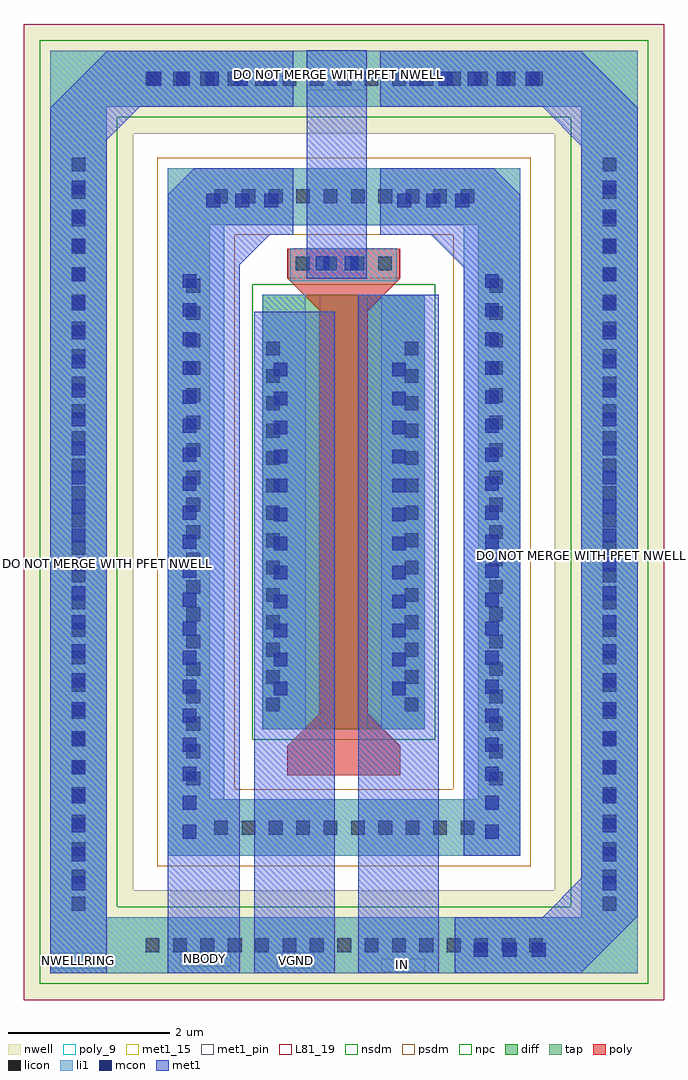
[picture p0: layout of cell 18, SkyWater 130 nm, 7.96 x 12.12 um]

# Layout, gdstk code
import gdstk
lib = gdstk.Library(unit=1e-6, precision=1e-09)
def R(c, l, rs):  # rectangles x0, y0, x1, y1
    for r in rs: c.add(gdstk.rectangle(r[:2], r[2:], *l))
def A(c, l, x, y, w, h, nx, ny, dx, dy):  # array of equal rectangles
    R(c, l, [(x+i*dx, y+j*dy, x+i*dx+w, y+j*dy+h) for i in range(nx) for j in range(ny)])
def P(c, l, *ps):  # polygons
    for p in ps: c.add(gdstk.Polygon(p, *l))
nwell = (64, 20)
diff = (65, 20)
tap = (65, 44)
poly_9 = (66, 9)
poly = (66, 20)
licon = (66, 44)
li1 = (67, 20)
mcon = (67, 44)
met1_15 = (68, 15)
met1_pin = (68, 16)
met1 = (68, 20)
L81_19 = (81, 19)
nsdm = (93, 44)
psdm = (94, 20)
npc = (95, 20)

c_18 = lib.new_cell('18')
R(c_18, nwell, [(1.215,0.295,6.745,1.065), (0.295,0.81,1.065,10.76), (6.89,0.81,7.66,10.76), (1.215,11.055,6.745,11.825)])
P(c_18, nwell, [(0,0),(0,12.12),(6.595,12.12),(6.595,10.76),(1.36,10.76),(1.36,1.36),(6.595,1.36),(6.595,12.12),(7.955,12.12),(7.955,0)])
R(c_18, diff, [(2.97,3.36,4.98,8.76), (2.97,3.525,3.22,8.235), (4.69,3.525,4.94,8.235)])
R(c_18, tap, [(1.395,0.475,6.565,0.885), (0.475,0.99,0.885,10.58), (7.07,0.99,7.48,10.58), (2.245,1.935,5.715,2.345), (1.9,2.545,2.31,9.075), (5.66,2.545,6.07,9.075), (2.245,9.775,5.715,10.185), (1.395,11.235,6.565,11.645)])
P(c_18, tap, [(1.79,1.79),(1.79,10.33),(5.645,10.33),(5.645,9.63),(2.31,9.63),(2.31,2.49),(5.645,2.49),(5.645,10.33),(6.165,10.33),(6.165,1.79)],
  [(0.33,0.33),(0.33,11.79),(6.925,11.79),(6.925,11.09),(1.03,11.09),(1.03,1.03),(6.925,1.03),(6.925,11.79),(7.625,11.79),(7.625,0.33)])
R(c_18, poly_9, [(3.675,3.36,4.275,8.76)])
R(c_18, poly, [(3.3,8.98,4.65,9.31)])
P(c_18, poly, [(3.275,2.79),(3.275,3.16),(3.675,3.56),(3.675,8.56),(3.275,8.96),(3.275,9.33),(4.675,9.33),(4.675,8.96),(4.275,8.56),(4.275,3.56),(4.675,3.16),(4.675,2.79)])
A(c_18, licon, 1.515, 0.595, 0.17, 0.17, 15, 2, 0.34, 10.76)
A(c_18, licon, 0.595, 1.11, 0.17, 0.17, 1, 28, 0, 0.34)
A(c_18, licon, 7.19, 1.11, 0.17, 0.17, 1, 28, 0, 0.34)
A(c_18, licon, 2.365, 2.055, 0.17, 0.17, 10, 2, 0.34, 7.84)
A(c_18, licon, 2.02, 2.665, 0.17, 0.17, 1, 19, 0, 0.34)
A(c_18, licon, 5.78, 2.665, 0.17, 0.17, 1, 19, 0, 0.34)
A(c_18, licon, 3.01, 3.585, 0.17, 0.17, 1, 14, 0, 0.34)
A(c_18, licon, 4.73, 3.585, 0.17, 0.17, 1, 14, 0, 0.34)
A(c_18, licon, 3.38, 9.06, 0.17, 0.17, 4, 1, 0.34, 0)
R(c_18, li1, [(1.515,0.515,6.445,0.845), (5.59,0.54,6.48,0.71), (0.595,1.03,0.765,10.54), (7.19,1.03,7.36,10.54), (0.595,1.365,0.765,10.175), (7.19,1.365,7.36,10.175), (2.365,1.975,5.595,2.305), (1.975,2.005,2.145,9.015), (5.73,2.005,5.9,9.015), (2.02,2.585,2.19,9.035), (5.78,2.585,5.95,9.035), (2.965,3.36,3.505,8.755), (4.44,3.36,4.98,8.755), (3.01,3.505,3.18,8.255), (4.73,3.505,4.9,8.255), (3.105,3.785,3.275,7.915), (4.575,3.785,4.745,7.915), (3.31,8.925,4.635,9.335), (3.38,8.98,4.57,9.31), (3.625,9.065,4.155,9.235), (2.365,9.815,5.595,10.145), (2.27,9.845,3.16,10.015), (4.64,9.845,5.53,10.015), (1.515,11.275,6.445,11.605), (1.535,11.355,3.145,11.525), (4.795,11.355,6.405,11.525)])
P(c_18, li1, [(0.33,0.33),(0.33,11.79),(6.925,11.79),(6.925,11.09),(1.03,11.09),(1.03,1.03),(6.925,1.03),(6.925,11.79),(7.625,11.79),(7.625,0.33)],
  [(1.79,1.79),(1.79,10.33),(5.465,10.33),(5.465,9.62),(2.49,9.62),(2.49,2.49),(5.465,2.49),(5.465,10.33),(6.165,10.33),(6.165,1.79)])
A(c_18, mcon, 5.59, 0.54, 0.17, 0.17, 3, 1, 0.36, 0)
A(c_18, mcon, 0.595, 1.365, 0.17, 0.17, 1, 25, 0, 0.36)
A(c_18, mcon, 7.19, 1.365, 0.17, 0.17, 1, 25, 0, 0.36)
A(c_18, mcon, 1.975, 2.005, 0.17, 0.17, 1, 20, 0, 0.36)
A(c_18, mcon, 5.73, 2.005, 0.17, 0.17, 1, 20, 0, 0.36)
A(c_18, mcon, 3.105, 3.785, 0.17, 0.17, 1, 12, 0, 0.36)
A(c_18, mcon, 4.575, 3.785, 0.17, 0.17, 1, 12, 0, 0.36)
A(c_18, mcon, 2.27, 9.845, 0.17, 0.17, 3, 1, 0.36, 0)
A(c_18, mcon, 4.64, 9.845, 0.17, 0.17, 3, 1, 0.36, 0)
A(c_18, mcon, 1.535, 11.355, 0.17, 0.17, 5, 1, 0.36, 0)
A(c_18, mcon, 4.795, 11.355, 0.17, 0.17, 5, 1, 0.36, 0)
R(c_18, mcon, [(3.625,9.065,3.795,9.235), (3.985,9.065,4.155,9.235)])
P(c_18, met1_15, [(2.665,0.33),(2.665,0.345),(2.675,0.345),(2.675,0.34),(2.67,0.34),(2.67,0.335),(2.675,0.335),(2.675,0.345),(2.68,0.345),(2.68,0.33)],
  [(1.015,0.33),(1.015,0.345),(1.025,0.345),(1.025,0.34),(1.02,0.34),(1.02,0.335),(1.025,0.335),(1.025,0.345),(1.03,0.345),(1.03,0.33)])
R(c_18, met1_pin, [(4.44,0.35,4.98,0.515), (0.34,0.385,1.02,0.585), (3.14,0.39,3.605,0.59), (1.935,0.41,2.57,0.61), (3.515,11.295,4.26,11.795)])
R(c_18, met1, [(2.86,0.33,3.86,8.545), (4.155,0.33,5.155,8.76), (5.53,0.51,6.54,0.74), (0.535,1.335,0.825,10.205), (7.13,1.335,7.42,10.205), (1.915,1.975,2.205,9.045), (5.67,1.975,5.96,9.045), (3.045,3.755,3.335,7.945), (4.515,3.755,4.805,7.945), (3.515,8.955,4.26,11.795), (3.565,9.035,4.215,9.265), (2.21,9.815,3.22,10.045), (4.58,9.815,5.59,10.045), (1.475,11.325,3.205,11.555), (4.735,11.325,6.465,11.555)])
P(c_18, met1, [(5.465,1.79),(5.465,9.1),(5.06,9.505),(4.43,9.505),(4.43,10.33),(5.835,10.33),(6.165,10),(6.165,1.79)],
  [(5.35,0.33),(5.35,1.03),(6.445,1.03),(6.925,1.51),(6.925,10.61),(6.445,11.09),(4.43,11.09),(4.43,11.79),(6.915,11.79),(7.625,11.08),(7.625,1.04),(6.915,0.33)],
  [(0.33,0.33),(0.33,11.08),(1.04,11.79),(3.345,11.79),(3.345,11.09),(1.44,11.09),(1.03,10.68),(1.03,0.33)],
  [(1.79,0.33),(1.79,10),(2.12,10.33),(3.345,10.33),(3.345,9.505),(3.055,9.505),(2.68,9.13),(2.68,0.33)])
R(c_18, L81_19, [(0,0,7.955,12.12)])
R(c_18, nsdm, [(1.265,0.345,6.695,1.015), (0.345,0.86,1.015,10.71), (6.94,0.86,7.61,10.71), (2.84,3.23,5.11,8.89), (2.84,3.395,3.35,8.365), (4.56,3.395,5.07,8.365), (1.265,11.105,6.695,11.775)])
P(c_18, nsdm, [(0.2,0.2),(0.2,11.92),(6.795,11.92),(6.795,10.96),(1.16,10.96),(1.16,1.16),(6.795,1.16),(6.795,11.92),(7.755,11.92),(7.755,0.2)])
R(c_18, psdm, [(2.115,1.805,5.845,2.475), (1.77,2.415,2.44,9.205), (5.53,2.415,6.2,9.205), (2.115,9.645,5.845,10.315)])
P(c_18, psdm, [(1.66,1.66),(1.66,10.46),(5.335,10.46),(5.335,9.5),(2.62,9.5),(2.62,2.62),(5.335,2.62),(5.335,10.46),(6.295,10.46),(6.295,1.66)])
R(c_18, npc, [(3.28,8.96,4.67,9.33)])
c_18.add(gdstk.Label('DO NOT MERGE WITH PFET NWELL', (7.26,5.515), layer=83, texttype=44))
c_18.add(gdstk.Label('DO NOT MERGE WITH PFET NWELL', (0.645,5.425), layer=83, texttype=44))
c_18.add(gdstk.Label('DO NOT MERGE WITH PFET NWELL', (3.915,11.49), layer=83, texttype=44))
c_18.add(gdstk.Label('GATE', (3.9,11.545), layer=68, texttype=5))
c_18.add(gdstk.Label('NWELLRING', (0.68,0.485), layer=68, texttype=5))
c_18.add(gdstk.Label('VGND', (3.385,0.49), layer=68, texttype=5))
c_18.add(gdstk.Label('NBODY', (2.245,0.51), layer=68, texttype=5))
c_18.add(gdstk.Label('IN', (4.71,0.435), layer=68, texttype=5))

lib.write_gds('18.gds')
